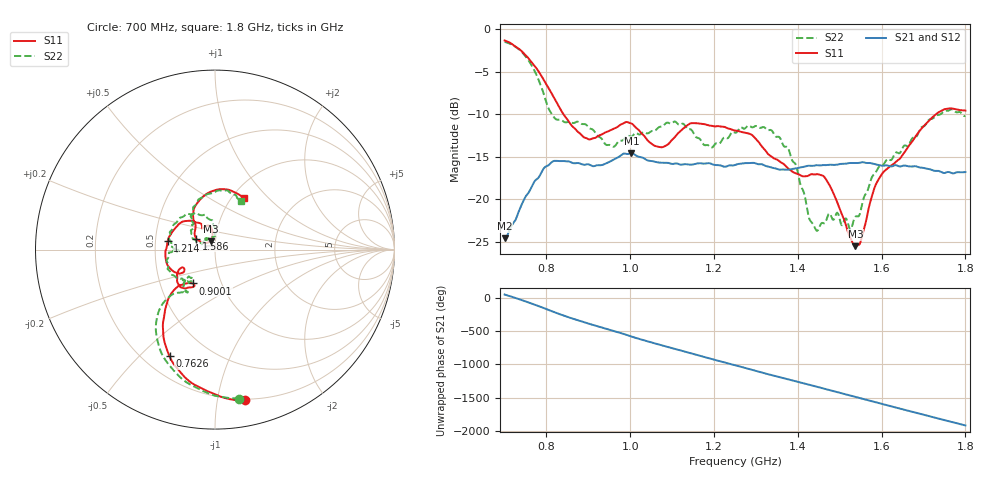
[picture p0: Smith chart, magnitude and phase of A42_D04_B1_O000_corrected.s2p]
! Created with skrf 1.9.0 (http://scikit-rf.org).
# Hz S RI R 50.0
!freq ReS11 ImS11 ReS21 ImS21 ReS12 ImS12 ReS22 ImS22
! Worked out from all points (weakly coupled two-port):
!   1601 points, 700 MHz to 1.8 GHz, reference 50 ohm
!   highest |S21| = -14.61 dB at 1.002 GHz (marker M1); lowest = -24.6 dB at 700 MHz (marker M2)
!   lowest |S11| = -25.5 dB at 1.537 GHz (marker M3), VSWR 1.11, Z = 47.5 + j4.51 ohm
!   |S11| at or under -10 dB: 840.2 MHz to 1.73 GHz (890 MHz wide, 69.3 % of centre)
!   |S22| runs from -23.7 to -1.5 dB; largest |S21 - S12| = 0.0033
!   S11 on the Smith chart (normalised r, x): 700 MHz: 0.19, -1.20; 762.6 MHz: 0.30, -0.62; 900.1 MHz: 0.73, -0.29; 1.214 GHz: 0.58, +0.06; 1.586 GHz: 0.80, +0.10; 1.8 GHz: 1.13, +0.74
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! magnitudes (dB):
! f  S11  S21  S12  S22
! 700 MHz  -1.3  -24.6  -24.4  -1.5
! 762.6 MHz  -3.8  -18.8  -18.7  -4.1
! 818.2 MHz  -8.1  -15.5  -15.6  -10.4
! 883.6 MHz  -12.5  -15.9  -15.8  -11.1
! 900.1 MHz  -13.0  -15.9  -15.9  -11.5
! 957.8 MHz  -11.8  -15.4  -15.4  -13.8
! 1.002 GHz  -11.1  -14.6  -14.7  -12.7
! 1.067 GHz  -13.8  -15.7  -15.6  -11.6
! 1.143 GHz  -11.1  -16.0  -15.9  -11.8
! 1.214 GHz  -11.5  -16.0  -16.0  -13.4
! 1.25 GHz  -11.9  -16.0  -15.9  -12.2
! 1.357 GHz  -15.6  -16.5  -16.5  -12.7
! 1.395 GHz  -17.0  -16.4  -16.4  -16.0
! 1.434 GHz  -17.1  -16.1  -16.1  -22.8
! 1.471 GHz  -18.0  -16.0  -16.0  -22.1
! 1.526 GHz  -24.6  -15.8  -15.7  -23.6
! 1.537 GHz  -25.5  -15.8  -15.8  -22.1
! 1.551 GHz  -24.8  -15.7  -15.7  -21.1
! 1.586 GHz  -18.3  -15.9  -15.9  -16.8
! 1.617 GHz  -16.3  -16.1  -16.1  -15.3
! 1.731 GHz  -10.0  -16.7  -16.7  -10.2
! 1.8 GHz  -9.6  -16.8  -16.8  -10.2
